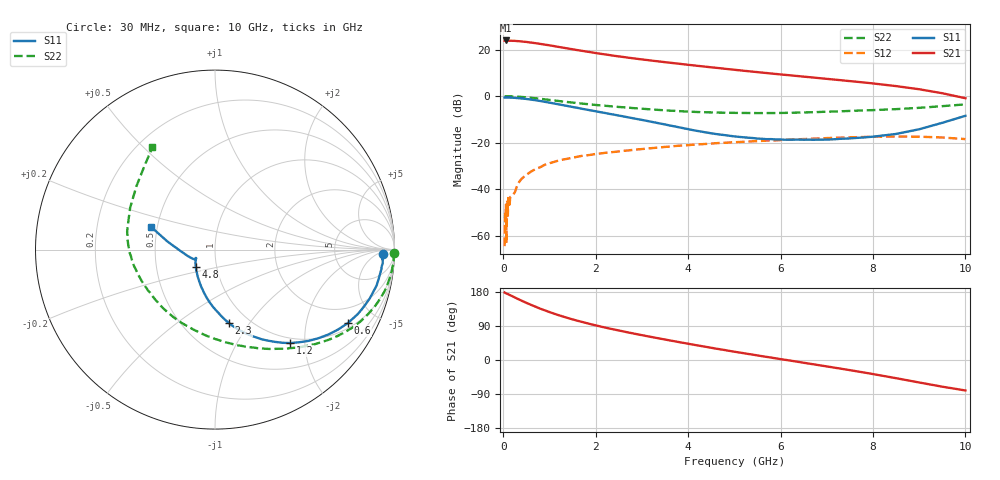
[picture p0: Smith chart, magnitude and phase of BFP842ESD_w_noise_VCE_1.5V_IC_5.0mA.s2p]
! Infineon Technologies  Discrete & RF Semiconductors
! BFP842ESD
! VCE =  1.5 V,  IC =  5.0 mA
! Common Emitter S-Parameters:  May 2012
# GHz  S  MA  R  50
!  f  S11  S21  S12  S22
! GHz  MAG  ANG  MAG  ANG  MAG  ANG  MAG  ANG
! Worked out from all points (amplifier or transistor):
!   99 points, 30 MHz to 10 GHz, reference 50 ohm
!   highest |S21| = 23.9 dB at 60 MHz (marker M1)
!   |S21| within 3 dB of that: start of sweep to 1.264 GHz
!   unconditionally stable (mu >= 1): 3.407 GHz to end of sweep
!   at 350 MHz: K = 0.12, MSG = 30.1 dB, |S12| = -36.7 dB
!   at 3.5 GHz: K = 1.01, MAG = 17.5 dB, |S12| = -21.8 dB
!   at 10 GHz: K = 2.15, MAG = 2.7 dB, |S12| = -18.4 dB
!   lowest NFmin = 0.41 dB at 450 MHz
!   S11 on the Smith chart (normalised r, x): 30 MHz: 26, -11; 600 MHz: 1.21, -3.49; 1.2 GHz: 0.91, -1.71; 2.3 GHz: 0.81, -0.80; 4.8 GHz: 0.79, -0.16; 10 GHz: 0.46, +0.14
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0.03  0.9377 -1.6  15.61 178.1  0.0006 -143.1  0.9963 -1.1
0.04  0.9406 -2.0  15.59 177.3  0.003 85.9  0.9978 -1.3
0.05  0.9356 -2.6  15.51 176.5  0.002 -160.3  0.9979 -2.0
0.06  0.9334 -3.3  15.75 176.0  0.0047 32.7  1 -2.4
0.07  0.9362 -3.1  15.6 175.6  0.0007 80.8  0.998 -2.5
0.09  0.9376 -4.6  15.42 174.6  0.0055 114.7  0.9979 -3.5
0.1  0.9363 -5.0  15.56 174.0  0.0027 53.1  0.9946 -3.9
0.11  0.9337 -5.7  15.71 173.1  0.0069 68.3  0.995 -4.1
0.35  0.9042 -17.5  15.17 159.3  0.0147 79.8  0.9719 -14.0
0.6  0.846 -28.9  14.19 145.6  0.024 69.9  0.9247 -23.0
0.9  0.7572 -40.8  12.84 131.0  0.0336 61.7  0.8564 -32.6
1.2  0.6682 -51.2  11.43 118.2  0.0415 55.7  0.7886 -40.7
1.7  0.5372 -65.2  9.437 100.6  0.0522 47.1  0.6939 -52.2
2.3  0.4164 -79.2  7.65 83.0  0.0621 40.2  0.6111 -64.4
2.9  0.3228 -91.4  6.347 67.9  0.0718 33.9  0.5485 -76.6
3.4  0.2583 -102.2  5.531 56.3  0.0796 29.0  0.504 -87.7
4  0.1959 -116.9  4.729 42.9  0.0887 22.4  0.4665 -102.1
4.8  0.1456 -137.5  3.884 26.1  0.0998 13.5  0.4416 -121.9
5.1  0.1336 -144.3  3.61 20.0  0.1036 9.8  0.4368 -128.8
6.7  0.1157 -155.7  2.522 -11.1  0.1226 -8.9  0.4528 -164.3
8.5  0.1545 -166.2  1.648 -48.0  0.1359 -36.1  0.5271 153.8
10  0.3789 160.4  0.905 -80.4  0.1197 -65.3  0.6674 121.5
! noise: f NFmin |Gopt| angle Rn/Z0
0.45  0.41  0.38  3  0.11
0.9  0.43  0.4  8  0.11
1.5  0.46  0.41  19  0.11
1.9  0.48  0.39  29  0.11
2.4  0.52  0.36  42  0.1
3.5  0.63  0.26  79  0.08
4  0.66  0.22  100  0.08
5  0.72  0.2  119  0.07
5.5  0.84  0.18  145  0.07
6  0.97  0.16  155  0.08
